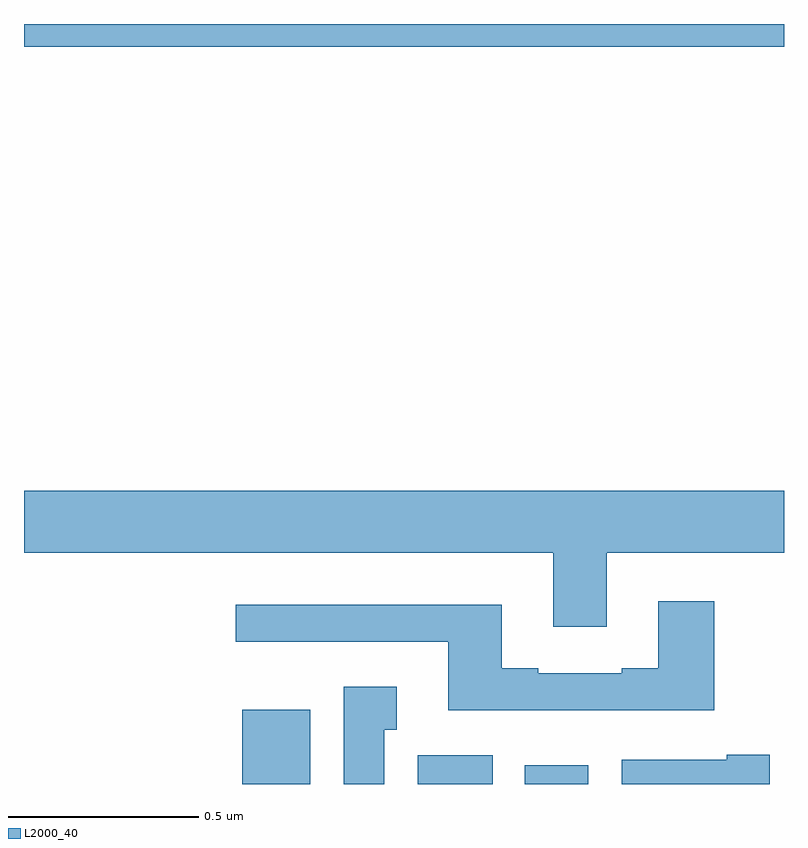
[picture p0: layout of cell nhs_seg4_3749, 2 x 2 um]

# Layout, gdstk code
import gdstk
lib = gdstk.Library(unit=1e-6, precision=1e-09)
def R(c, l, rs):  # rectangles x0, y0, x1, y1
    for r in rs: c.add(gdstk.rectangle(r[:2], r[2:], *l))
def P(c, l, *ps):  # polygons
    for p in ps: c.add(gdstk.Polygon(p, *l))
L2000_40 = (2000, 40)

nhs_seg4_3749 = lib.new_cell('nhs_seg4_3749')
R(nhs_seg4_3749, L2000_40, [(157.574,774.9,157.753,775.096), (158.036,774.9,158.233,774.976), (158.318,774.9,158.485,774.949), (157,776.84,159,776.9)])
P(nhs_seg4_3749, L2000_40, [(158.533,775.508),(159,775.508),(159,775.672),(157,775.672),(157,775.508),(158.393,775.508),(158.393,775.314),(158.533,775.314)],
  [(158.817,775.381),(158.669,775.381),(158.669,775.204),(158.573,775.204),(158.573,775.191),(158.353,775.191),(158.353,775.204),(158.257,775.204),(158.257,775.372),(157.557,775.372),(157.557,775.275),(158.117,775.275),(158.117,775.094),(158.817,775.094)],
  [(157.948,775.043),(157.981,775.043),(157.981,775.156),(157.841,775.156),(157.841,774.9),(157.948,774.9)],
  [(158.962,774.977),(158.849,774.977),(158.849,774.964),(158.573,774.964),(158.573,774.9),(158.962,774.9)])

lib.write_gds('nhs_seg4_3749.gds')
